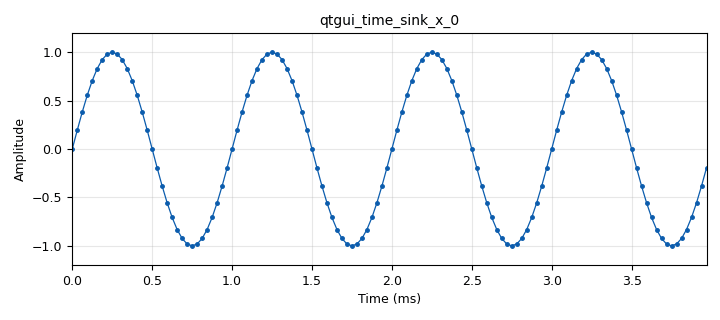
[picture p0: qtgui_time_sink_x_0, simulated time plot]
options:
  parameters:
    generate_options: qt_gui
    id: fg_tp02_001
    output_language: python
    title: FG-TP02-001
  states: {}

blocks:
- name: amplitude
  id: variable_qtgui_range
  parameters:
    gui_hint: 2, 0, 1, 1
    label: Amplitude
    start: '0'
    step: '0.05'
    stop: '1'
    value: '1'
  states: {}
- name: freq
  id: variable_qtgui_range
  parameters:
    gui_hint: 1, 0, 1, 1
    label: Frequency (Hz)
    start: '100'
    step: '100'
    stop: '4000'
    value: '1000'
  states: {}
- name: samp_rate
  id: variable_qtgui_chooser
  parameters:
    gui_hint: 0, 0, 1, 1
    label: Sample rate (Hz)
    label0: '8000'
    label1: '16000'
    label2: '32000'
    label3: '48000'
    num_opts: '4'
    option0: '8000'
    option1: '16000'
    option2: '32000'
    option3: '48000'
    orient: Qt.QHBoxLayout
    type: int
    value: '32000'
    widget: radio_buttons
  states: {}
- name: analog_sig_source_x_0
  id: analog_sig_source_x
  parameters:
    amp: amplitude
    freq: freq
    offset: '0'
    phase: '0'
    samp_rate: samp_rate
    type: float
    waveform: analog.GR_SIN_WAVE
  states: {}
- name: blocks_throttle2_0
  id: blocks_throttle2
  parameters:
    comment: Average rate limit, no hardware clock
    samples_per_second: samp_rate
    type: float
  states: {}
- name: qtgui_time_sink_x_0
  id: qtgui_time_sink_x
  parameters:
    entags: 'False'
    grid: 'True'
    gui_hint: 3, 0, 4, 1
    legend: 'False'
    marker1: '0'
    size: '128'
    srate: samp_rate
    tr_mode: qtgui.TRIG_MODE_AUTO
    type: float
    ymax: '1.2'
    ymin: '-1.2'
  states: {}

connections:
- [analog_sig_source_x_0, '0', blocks_throttle2_0, '0']
- [blocks_throttle2_0, '0', qtgui_time_sink_x_0, '0']

metadata:
  file_format: 1
  grc_version: 3.10.12.0
